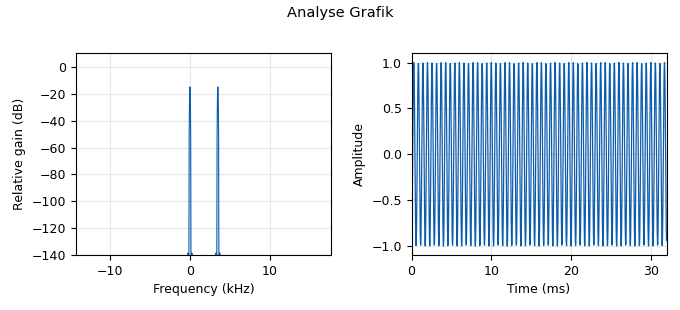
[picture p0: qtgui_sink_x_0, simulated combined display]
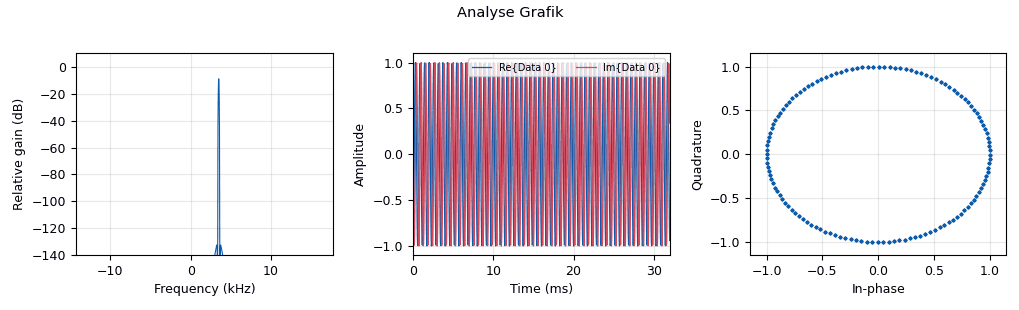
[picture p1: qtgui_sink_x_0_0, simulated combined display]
options:
  parameters:
    generate_options: qt_gui
    id: first_step
    output_language: python
    title: Audio Funktion
  states: {}

blocks:
- name: samp_rate
  id: variable
  parameters:
    value: '32000'
  states: {}
- name: analog_sig_source_x_0
  id: analog_sig_source_x
  parameters:
    amp: '1'
    freq: '1750'
    offset: '0'
    phase: '0'
    samp_rate: samp_rate
    type: complex
    waveform: analog.GR_COS_WAVE
  states: {}
- name: audio_sink_0
  id: audio_sink
  parameters:
    device_name: default
    samp_rate: samp_rate
  states: {}
- name: blocks_complex_to_float_0
  id: blocks_complex_to_float
  parameters: {}
  states: {}
- name: blocks_throttle2_0
  id: blocks_throttle2
  parameters:
    samples_per_second: samp_rate
    type: float
  states: {}
- name: qtgui_sink_x_0
  id: qtgui_sink_x
  parameters:
    bw: samp_rate
    fc: '1750'
    fftsize: '1024'
    name: Analyse Grafik
    rate: '5'
    type: float
  states: {}
- name: qtgui_sink_x_0_0
  id: qtgui_sink_x
  parameters:
    bw: samp_rate
    fc: '1750'
    fftsize: '1024'
    name: Analyse Grafik
    rate: '5'
    type: complex
  states: {}

connections:
- [analog_sig_source_x_0, '0', blocks_complex_to_float_0, '0']
- [analog_sig_source_x_0, '0', qtgui_sink_x_0_0, '0']
- [blocks_complex_to_float_0, '0', blocks_throttle2_0, '0']
- [blocks_throttle2_0, '0', audio_sink_0, '0']
- [blocks_throttle2_0, '0', qtgui_sink_x_0, '0']

metadata:
  file_format: 1
  grc_version: 3.10.9.2
